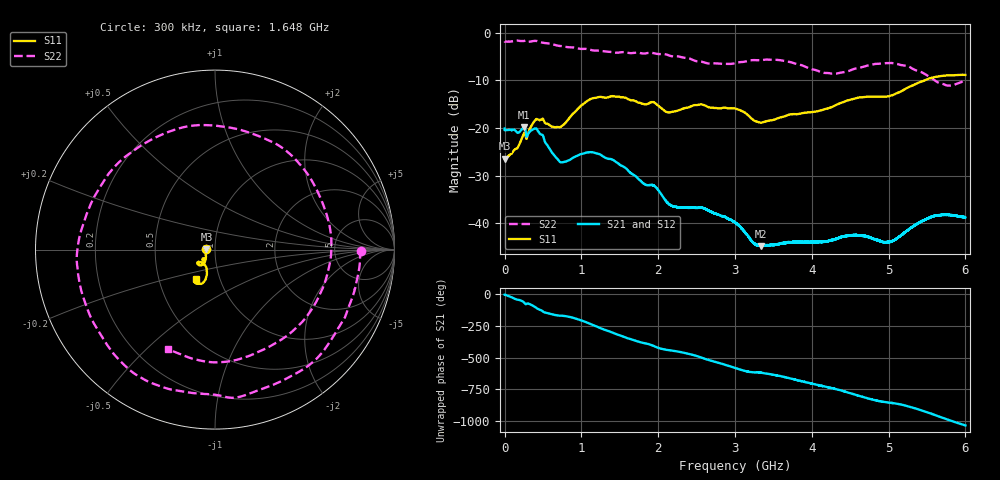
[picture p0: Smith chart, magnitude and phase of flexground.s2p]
!  8/6/2020  02:10:22
! Ref Plane: 0.000 mm
# MHZ S MA R  50
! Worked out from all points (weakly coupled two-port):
!   10001 points, 300 kHz to 6 GHz, reference 50 ohm
!   highest |S21| = -19.73 dB at 255.3 MHz (marker M1); lowest = -44.8 dB at 3.333 GHz (marker M2)
!   lowest |S11| = -26.5 dB at 300 kHz (marker M3), VSWR 1.10, Z = 45.5 + j0.0809 ohm
!   |S11| at or under -10 dB: start of sweep to 5.466 GHz
!   |S22| runs from -11.1 to -1.6 dB; largest |S21 - S12| = 0.0024
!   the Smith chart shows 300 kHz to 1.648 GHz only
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0.3  0.04757 178.9  0.09891 -1.1  0.09649 -0.9  0.8149 -0.4
255.2873  0.08919 -137.4  0.1031 -63.7  0.1031 -63.8  0.823 -75.3
402.8799  0.122 -133.8  0.09902 -100.8  0.09919 -100.9  0.8242 -119.7
594.2703  0.106 -139.1  0.05901 -154.1  0.05914 -154.2  0.7721 -176.4
816.8592  0.1199 -112.8  0.04526 -173.8  0.04537 -173.8  0.7094 122.2
1000.45  0.1728 -107.6  0.05324 154.5  0.05333 154.4  0.6784 70.8
1253.037  0.213 -116.9  0.05237 92.7  0.05245 92.6  0.6469 -2.6
1536.223  0.2112 -121.6  0.03983 29.1  0.03989 29.0  0.6278 -84.2
1779.811  0.1818 -120.4  0.02755 -19.6  0.02756 -19.6  0.6112 -150.1
2000.6  0.172 -119.7  0.02236 -61.7  0.02239 -61.8  0.5995 152.4
2260.987  0.1532 -99.5  0.01477 -91.8  0.01476 -91.8  0.5661 84.7
2539.973  0.1766 -93.6  0.01455 -133.6  0.0146 -133.6  0.5022 6.5
2781.161  0.1613 -89.1  0.01238 -179.6  0.01238 -179.5  0.4759 -67.2
3000.15  0.1608 -85.4  0.01016 139.4  0.0102 139.7  0.4804 -133.5
3332.533  0.1141 -67.7  0.005756 101.2  0.00583 100.3  0.5168 138.7
3610.32  0.1306 -46.0  0.006152 71.9  0.006175 71.7  0.5127 71.7
4000.3  0.1473 -28.6  0.006389 15.2  0.006397 15.6  0.4148 -30.9
4225.289  0.1625 -15.9  0.006568 -15.4  0.006578 -15.6  0.3781 -101.8
4493.475  0.198 -8.2  0.007406 -59.5  0.007475 -59.4  0.4014 173.3
5000.45  0.2159 4.0  0.006394 -134.7  0.006316 -134.6  0.4816 47.9
5511.025  0.3275 14.2  0.01126 146.9  0.01123 146.9  0.3548 -75.0
6000  0.3616 6.9  0.01152 44.3  0.01154 44.1  0.3251 117.1
